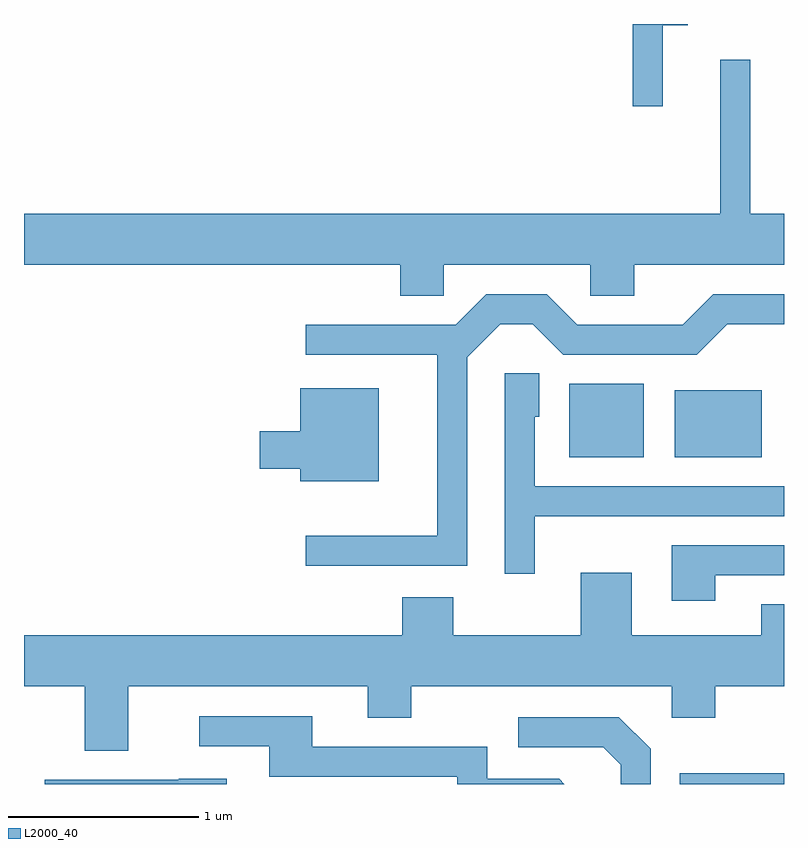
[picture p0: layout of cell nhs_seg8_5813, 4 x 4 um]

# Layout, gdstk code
import gdstk
lib = gdstk.Library(unit=1e-6, precision=1e-09)
def R(c, l, rs):  # rectangles x0, y0, x1, y1
    for r in rs: c.add(gdstk.rectangle(r[:2], r[2:], *l))
def P(c, l, *ps):  # polygons
    for p in ps: c.add(gdstk.Polygon(p, *l))
L2000_40 = (2000, 40)

nhs_seg8_5813 = lib.new_cell('nhs_seg8_5813')
R(nhs_seg8_5813, L2000_40, [(363.061,1840.342,363.611,1840.399), (362.481,1842.061,362.874,1842.449), (363.036,1842.061,363.494,1842.414)])
P(nhs_seg8_5813, L2000_40, [(362.974,1844.336),(363.104,1844.336),(363.104,1844.342),(362.816,1844.342),(362.816,1843.908),(362.974,1843.908)],
  [(361.819,1843.076),(362.591,1843.076),(362.591,1842.911),(362.824,1842.911),(362.824,1843.076),(363.611,1843.076),(363.611,1843.344),(363.434,1843.344),(363.434,1844.153),(363.276,1844.153),(363.276,1843.344),(359.611,1843.344),(359.611,1843.076),(361.591,1843.076),(361.591,1842.911),(361.819,1842.911)],
  [(361.944,1842.589),(362.117,1842.761),(362.289,1842.761),(362.449,1842.601),(363.152,1842.601),(363.312,1842.761),(363.611,1842.761),(363.611,1842.919),(363.239,1842.919),(363.079,1842.759),(362.522,1842.759),(362.362,1842.919),(362.044,1842.919),(361.884,1842.759),(361.093,1842.759),(361.093,1842.601),(361.786,1842.601),(361.786,1841.649),(361.093,1841.649),(361.093,1841.491),(361.944,1841.491)],
  [(362.299,1841.751),(363.611,1841.751),(363.611,1841.909),(362.299,1841.909),(362.299,1842.276),(362.324,1842.276),(362.324,1842.504),(362.141,1842.504),(362.141,1841.448),(362.299,1841.448)],
  [(361.479,1842.424),(361.066,1842.424),(361.066,1842.199),(360.851,1842.199),(360.851,1842.001),(361.066,1842.001),(361.066,1841.936),(361.479,1841.936)],
  [(363.249,1841.441),(363.611,1841.441),(363.611,1841.599),(363.021,1841.599),(363.021,1841.306),(363.249,1841.306)],
  [(362.809,1841.454),(362.541,1841.454),(362.541,1841.124),(361.869,1841.124),(361.869,1841.324),(361.601,1841.324),(361.601,1841.124),(359.611,1841.124),(359.611,1840.856),(359.931,1840.856),(359.931,1840.516),(360.159,1840.516),(360.159,1840.856),(361.421,1840.856),(361.421,1840.691),(361.649,1840.691),(361.649,1840.856),(363.021,1840.856),(363.021,1840.691),(363.249,1840.691),(363.249,1840.856),(363.611,1840.856),(363.611,1841.289),(363.491,1841.289),(363.491,1841.124),(362.809,1841.124)],
  [(362.427,1840.369),(362.049,1840.369),(362.049,1840.539),(361.129,1840.539),(361.129,1840.699),(360.533,1840.699),(360.533,1840.541),(360.901,1840.541),(360.901,1840.381),(361.891,1840.381),(361.891,1840.342),(362.454,1840.342)],
  [(362.909,1840.527),(362.742,1840.694),(362.213,1840.694),(362.213,1840.536),(362.659,1840.536),(362.751,1840.444),(362.751,1840.342),(362.909,1840.342)],
  [(360.679,1840.369),(360.425,1840.369),(360.425,1840.364),(359.721,1840.364),(359.721,1840.342),(360.679,1840.342)])

lib.write_gds('nhs_seg8_5813.gds')
